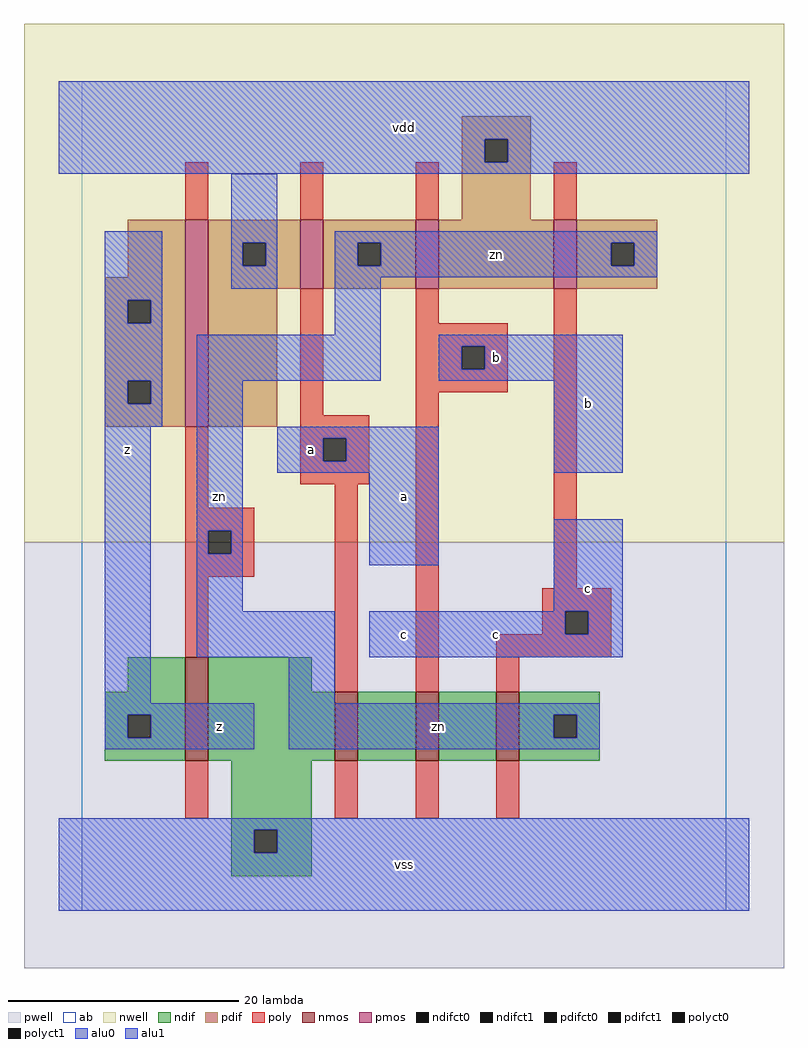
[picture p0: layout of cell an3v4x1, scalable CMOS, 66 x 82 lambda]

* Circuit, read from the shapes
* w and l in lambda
.subckt an3v4x1 a b c vdd vss z zn
M1 vss zn z VSUBS nfet w=9 l=2
M2 n1 a vss VSUBS nfet w=6 l=2
M3 n2 b n1 VSUBS nfet w=6 l=2
M4 zn c n2 VSUBS nfet w=6 l=2
M5 vdd zn z n3 pfet w=18 l=2
M6 zn a vdd n3 pfet w=6 l=2
M7 vdd b zn n3 pfet w=6 l=2
M8 zn c vdd n3 pfet w=6 l=2
.ends

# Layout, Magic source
magic
tech scmos
<< ab >>
rect 0 0 56 72
<< nwell >>
rect -5 32 61 77
<< pwell >>
rect -5 -5 61 32
<< poly >>
rect 9 60 11 65
rect 19 60 21 65
rect 29 60 31 65
rect 41 60 43 65
rect 19 43 21 54
rect 29 51 31 54
rect 29 49 37 51
rect 29 47 33 49
rect 35 47 37 49
rect 29 45 37 47
rect 9 35 11 42
rect 19 41 25 43
rect 19 39 21 41
rect 23 39 25 41
rect 19 37 25 39
rect 9 33 15 35
rect 9 31 11 33
rect 13 31 15 33
rect 9 29 15 31
rect 9 22 11 29
rect 22 19 24 37
rect 29 19 31 45
rect 41 28 43 54
rect 40 26 46 28
rect 40 24 42 26
rect 44 24 46 26
rect 36 22 46 24
rect 36 19 38 22
rect 9 8 11 13
rect 22 8 24 13
rect 29 8 31 13
rect 36 8 38 13
<< ndif >>
rect 4 19 9 22
rect 2 17 9 19
rect 2 15 4 17
rect 6 15 9 17
rect 2 13 9 15
rect 11 19 20 22
rect 11 13 22 19
rect 24 13 29 19
rect 31 13 36 19
rect 38 17 45 19
rect 38 15 41 17
rect 43 15 45 17
rect 38 13 45 15
rect 13 7 20 13
rect 13 5 15 7
rect 17 5 20 7
rect 13 3 20 5
<< pdif >>
rect 33 67 39 69
rect 33 65 35 67
rect 37 65 39 67
rect 33 60 39 65
rect 4 55 9 60
rect 2 53 9 55
rect 2 51 4 53
rect 6 51 9 53
rect 2 46 9 51
rect 2 44 4 46
rect 6 44 9 46
rect 2 42 9 44
rect 11 58 19 60
rect 11 56 14 58
rect 16 56 19 58
rect 11 54 19 56
rect 21 58 29 60
rect 21 56 24 58
rect 26 56 29 58
rect 21 54 29 56
rect 31 54 41 60
rect 43 58 50 60
rect 43 56 46 58
rect 48 56 50 58
rect 43 54 50 56
rect 11 42 17 54
<< alu1 >>
rect -2 67 58 72
rect -2 65 35 67
rect 37 65 58 67
rect -2 64 58 65
rect 2 53 7 59
rect 2 51 4 53
rect 6 51 7 53
rect 2 46 7 51
rect 2 44 4 46
rect 6 44 7 46
rect 2 42 7 44
rect 31 49 47 50
rect 31 47 33 49
rect 35 47 47 49
rect 31 46 47 47
rect 2 18 6 42
rect 17 41 31 42
rect 17 39 21 41
rect 23 39 31 41
rect 17 38 31 39
rect 41 38 47 46
rect 25 30 31 38
rect 41 26 47 34
rect 25 24 42 26
rect 44 24 47 26
rect 25 22 47 24
rect 2 17 15 18
rect 2 15 4 17
rect 6 15 15 17
rect 2 14 15 15
rect -2 7 58 8
rect -2 5 15 7
rect 17 5 58 7
rect -2 0 58 5
<< nmos >>
rect 9 13 11 22
rect 22 13 24 19
rect 29 13 31 19
rect 36 13 38 19
<< pmos >>
rect 9 42 11 60
rect 19 54 21 60
rect 29 54 31 60
rect 41 54 43 60
<< polyct0 >>
rect 11 31 13 33
<< polyct1 >>
rect 33 47 35 49
rect 21 39 23 41
rect 42 24 44 26
<< ndifct0 >>
rect 41 15 43 17
<< ndifct1 >>
rect 4 15 6 17
rect 15 5 17 7
<< pdifct0 >>
rect 14 56 16 58
rect 24 56 26 58
rect 46 56 48 58
<< pdifct1 >>
rect 35 65 37 67
rect 4 51 6 53
rect 4 44 6 46
<< alu0 >>
rect 13 58 17 64
rect 13 56 14 58
rect 16 56 17 58
rect 13 54 17 56
rect 22 58 50 59
rect 22 56 24 58
rect 26 56 46 58
rect 48 56 50 58
rect 22 55 50 56
rect 22 50 26 55
rect 10 46 26 50
rect 10 33 14 46
rect 10 31 11 33
rect 13 31 14 33
rect 10 26 14 31
rect 10 22 22 26
rect 18 18 22 22
rect 18 17 45 18
rect 18 15 41 17
rect 43 15 45 17
rect 18 14 45 15
<< labels >>
rlabel alu0 12 36 12 36 6 zn
rlabel alu0 31 16 31 16 6 zn
rlabel alu0 36 57 36 57 6 zn
rlabel alu1 4 40 4 40 6 z
rlabel alu1 12 16 12 16 6 z
rlabel alu1 20 40 20 40 6 a
rlabel alu1 28 4 28 4 6 vss
rlabel alu1 28 24 28 24 6 c
rlabel alu1 36 24 36 24 6 c
rlabel alu1 28 36 28 36 6 a
rlabel alu1 36 48 36 48 6 b
rlabel alu1 28 68 28 68 6 vdd
rlabel alu1 44 28 44 28 6 c
rlabel alu1 44 44 44 44 6 b
<< end >>
